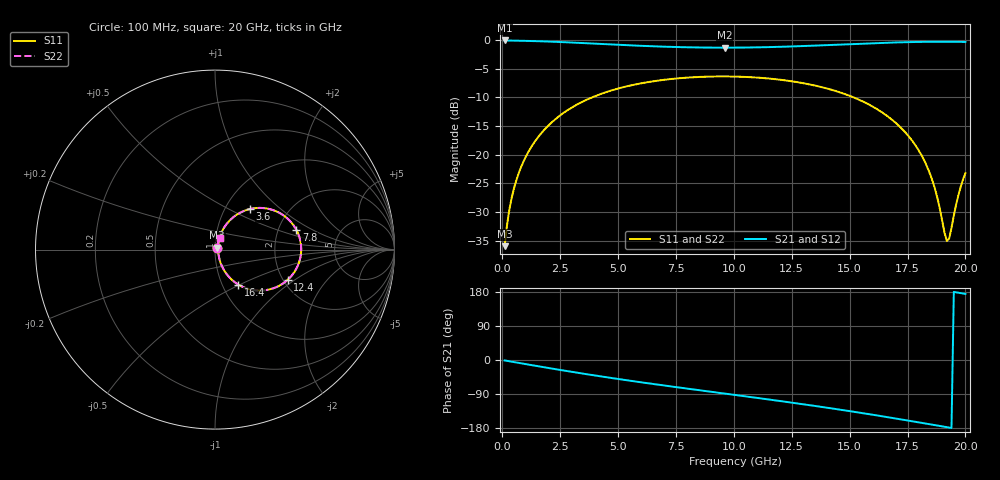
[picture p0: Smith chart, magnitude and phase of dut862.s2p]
! Touchstone file exported from HFSS 2026.1.0
!  File:  C:/ffzhzh/LocalFiles/Ansys_Project_Files/temp_train_TSV_RDL_862_1783271119_38704.aedt
!  Generated:  01:15:54 AM Jul  6, 2026
!  Design:  TSV_RDL
!  Project:  temp_train_TSV_RDL_862_1783271119_38704
! Variables:
!  h_bsmrdl = 3.35um
!  h_ox = 20um
!  h_rdl = 5um
!  h_sub = 86.06um
!  h_tmrdl = 4.49um
!  h_tsv = 86.06um
!  h_via = 3um
!  l_bsmrdl = 691.67um
!  l_sub = 3024.62um
!  l_tmrdl = 101.74um
!  m_sub = 200um
!  pitch = 50.18um
!  r_tsv = 6.39um
!  s_tmrdl = 10um
!  w_bsmrdl = 27.13um
!  w_sub = 500um
!  w_tmrdl = 20.42um
!  x_tsv_center1 = 111.95um
!  x_tsv_center2 = 830.75um
!  x_tsv_center3 = 952.91um
!  x_tsv_center4 = 1671.71um
!  x_tsv_center5 = 1793.87um
!  x_tsv_center6 = 2512.67um
# GHz S MA R 50.000000
! Terminal data exported
! Port[1] = TM_RDL1_1_T1
! Port[2] = TM_RDL5_1_T1
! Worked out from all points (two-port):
!   200 points, 100 MHz to 20 GHz, reference 50 ohm
!   highest |S21| = -0.11 dB at 100 MHz (marker M1); lowest = -1.4 dB at 9.6 GHz (marker M2)
!   |S21| within 3 dB of the highest: start of sweep to end of sweep
!   lowest |S11| = -35.9 dB at 100 MHz (marker M3), VSWR 1.03, Z = 51.2 + j1.03 ohm
!   |S11| at or under -10 dB: start of sweep to 3.887 GHz; 15.16 GHz to end of sweep
!   |S22| runs from -35.9 to -6.4 dB; largest |S21 - S12| = 1.2e-13
!   S11 on the Smith chart (normalised r, x): 100 MHz: 1.02, +0.02; 3.6 GHz: 1.30, +0.65; 7.8 GHz: 2.51, +0.71; 12.4 GHz: 2.12, -0.88; 16.4 GHz: 1.19, -0.49; 20 GHz: 1.04, +0.13
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0.1  0.01601 39.0  0.9877 -1.1  0.9877 -1.1  0.01601 39.0
! Gamma 0 0 0 0
! Port Impedance 50 0 50 0
0.3  0.03283 62.3  0.986 -3.3  0.986 -3.3  0.03283 62.3
0.5  0.05056 67.8  0.9842 -5.5  0.9842 -5.5  0.05056 67.8
1.1  0.1036 69.3  0.9785 -11.8  0.9785 -11.8  0.1036 69.3
2.1  0.1885 62.5  0.9646 -22.2  0.9646 -22.2  0.1885 62.5
3.5  0.2917 50.2  0.9373 -36.1  0.9373 -36.1  0.2917 50.2
3.6  0.2982 49.3  0.9352 -37.1  0.9352 -37.1  0.2982 49.3
6.8  0.444 21.9  0.8745 -65.7  0.8745 -65.7  0.444 21.9
7.8  0.4661 13.8  0.863 -74.0  0.863 -74.0  0.4661 13.8
9.6  0.4803 -0.3  0.8548 -88.6  0.8548 -88.6  0.4803 -0.3
10.1  0.4787 -4.2  0.8556 -92.6  0.8556 -92.6  0.4786 -4.2
12.4  0.4389 -22.5  0.8744 -111.6  0.8744 -111.6  0.4389 -22.4
13.4  0.4043 -30.7  0.8892 -120.3  0.8892 -120.3  0.4043 -30.7
16.4  0.2339 -56.4  0.941 -148.4  0.941 -148.4  0.2339 -56.3
16.7  0.2117 -58.8  0.9454 -151.4  0.9454 -151.4  0.2117 -58.8
17.6  0.1408 -65.4  0.956 -160.6  0.956 -160.6  0.1408 -65.3
18.3  0.08258 -67.3  0.9609 -167.8  0.9609 -167.8  0.08258 -67.2
18.7  0.04934 -62.8  0.9623 -172.0  0.9623 -172.0  0.04938 -62.6
19.2  0.01777 -6.8  0.9623 -177.2  0.9623 -177.2  0.01797 -6.6
19.3  0.01868 19.7  0.9621 -178.3  0.9621 -178.3  0.01889 19.6
19.7  0.0447 62.9  0.9606 177.5  0.9606 177.5  0.04482 62.7
20  0.06925 68.3  0.9587 174.4  0.9587 174.4  0.06935 68.1
